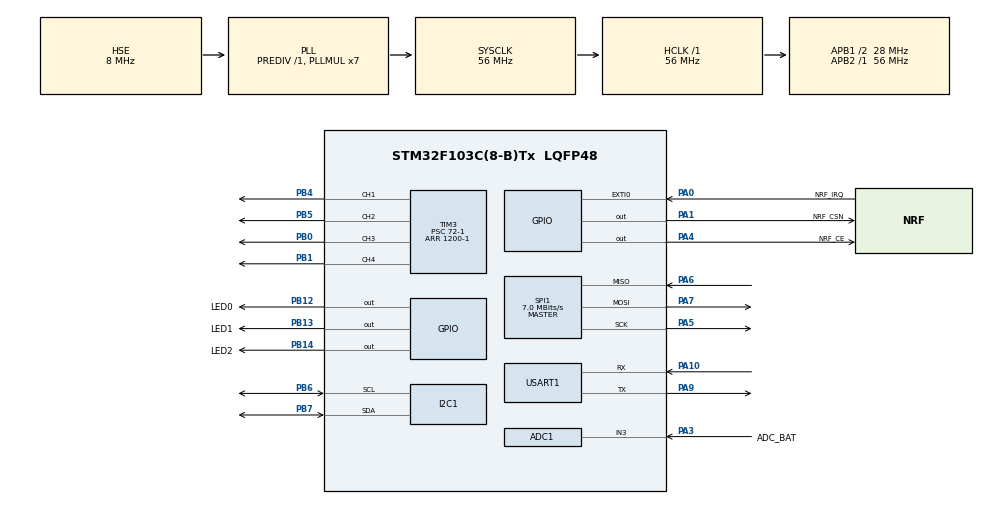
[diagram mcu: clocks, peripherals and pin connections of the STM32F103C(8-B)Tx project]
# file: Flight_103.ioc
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ADC1.Channel-0\#ChannelRegularConversion=ADC_CHANNEL_3
ADC1.NbrOfConversion=1
ADC1.NbrOfConversionFlag=1
ADC1.Rank-0\#ChannelRegularConversion=1
ADC1.SamplingTime-0\#ChannelRegularConversion=ADC_SAMPLETIME_41CYCLES_5
ADC1.master=1
Mcu.Family=STM32F1
Mcu.Name=STM32F103C(8-B)Tx
Mcu.Package=LQFP48
NVIC.EXTI0_IRQn=true\:2\:1\:true\:false\:true\:true
NVIC.PriorityGroup=NVIC_PRIORITYGROUP_2
NVIC.TIM2_IRQn=true\:2\:2\:true\:false\:true\:true
NVIC.TIM4_IRQn=true\:2\:0\:true\:false\:true\:true
NVIC.USART1_IRQn=true\:1\:2\:true\:false\:true\:true
PA0-WKUP.GPIO_Label=NRF_IRQ
PA0-WKUP.GPIO_ModeDefaultEXTI=GPIO_MODE_IT_FALLING
PA0-WKUP.GPIO_PuPd=GPIO_PULLUP
PA0-WKUP.Signal=GPXTI0
PA1.GPIO_Label=NRF_CSN
PA1.GPIO_ModeDefaultOutputPP=GPIO_MODE_OUTPUT_PP
PA1.GPIO_PuPd=GPIO_PULLUP
PA1.GPIO_Speed=GPIO_SPEED_FREQ_HIGH
PA1.PinState=GPIO_PIN_SET
PA1.Signal=GPIO_Output
PA10.Mode=Asynchronous
PA10.Signal=USART1_RX
PA13.Mode=Serial_Wire
PA13.Signal=SYS_JTMS-SWDIO
PA14.Mode=Serial_Wire
PA14.Signal=SYS_JTCK-SWCLK
PA3.GPIO_Label=ADC_BAT
PA3.Signal=ADCx_IN3
PA4.GPIO_Label=NRF_CE
PA4.GPIO_ModeDefaultOutputPP=GPIO_MODE_OUTPUT_PP
PA4.GPIO_PuPd=GPIO_PULLUP
PA4.GPIO_Speed=GPIO_SPEED_FREQ_HIGH
PA4.PinState=GPIO_PIN_SET
PA4.Signal=GPIO_Output
PA5.Mode=Full_Duplex_Master
PA5.Signal=SPI1_SCK
PA6.Mode=Full_Duplex_Master
PA6.Signal=SPI1_MISO
PA7.Mode=Full_Duplex_Master
PA7.Signal=SPI1_MOSI
PA9.Mode=Asynchronous
PA9.Signal=USART1_TX
PB0.Signal=S_TIM3_CH3
PB1.Signal=S_TIM3_CH4
PB12.GPIO_Label=LED0
PB12.GPIO_ModeDefaultOutputPP=GPIO_MODE_OUTPUT_PP
PB12.GPIO_PuPd=GPIO_PULLUP
PB12.GPIO_Speed=GPIO_SPEED_FREQ_HIGH
PB12.PinState=GPIO_PIN_SET
PB12.Signal=GPIO_Output
PB13.GPIO_Label=LED1
PB13.GPIO_ModeDefaultOutputPP=GPIO_MODE_OUTPUT_PP
PB13.GPIO_PuPd=GPIO_PULLUP
PB13.GPIO_Speed=GPIO_SPEED_FREQ_HIGH
PB13.PinState=GPIO_PIN_SET
PB13.Signal=GPIO_Output
PB14.GPIO_Label=LED2
PB14.GPIO_ModeDefaultOutputPP=GPIO_MODE_OUTPUT_PP
PB14.GPIO_PuPd=GPIO_PULLUP
PB14.GPIO_Speed=GPIO_SPEED_FREQ_HIGH
PB14.PinState=GPIO_PIN_SET
PB14.Signal=GPIO_Output
PB4.Signal=S_TIM3_CH1
PB5.Signal=S_TIM3_CH2
PB6.GPIO_Mode=GPIO_MODE_AF_OD
PB6.Mode=I2C
PB6.Signal=I2C1_SCL
PB7.Mode=I2C
PB7.Signal=I2C1_SDA
PD0-OSC_IN.Mode=HSE-External-Oscillator
PD0-OSC_IN.Signal=RCC_OSC_IN
PD1-OSC_OUT.Mode=HSE-External-Oscillator
PD1-OSC_OUT.Signal=RCC_OSC_OUT
ProjectManager.HeapSize=0x200
ProjectManager.StackSize=0x400
ProjectManager.TargetToolchain=MDK-ARM V5
RCC.ADCPresc=RCC_ADCPCLK2_DIV4
RCC.AHBFreq_Value=56000000
RCC.APB1CLKDivider=RCC_HCLK_DIV2
RCC.APB1Freq_Value=28000000
RCC.APB1TimFreq_Value=56000000
RCC.APB2Freq_Value=56000000
RCC.APB2TimFreq_Value=56000000
RCC.HCLKFreq_Value=56000000
RCC.PLLMUL=RCC_PLL_MUL7
RCC.PLLSourceVirtual=RCC_PLLSOURCE_HSE
RCC.SYSCLKFreq_VALUE=56000000
RCC.SYSCLKSource=RCC_SYSCLKSOURCE_PLLCLK
RCC.USBFreq_Value=37333333.333333336
RCC.USBPrescaler=RCC_USBCLKSOURCE_PLL_DIV1_5
SH.ADCx_IN3.0=ADC1_IN3,IN3
SH.S_TIM3_CH1.0=TIM3_CH1,PWM Generation1 CH1
SH.S_TIM3_CH2.0=TIM3_CH2,PWM Generation2 CH2
SH.S_TIM3_CH3.0=TIM3_CH3,PWM Generation3 CH3
SH.S_TIM3_CH4.0=TIM3_CH4,PWM Generation4 CH4
SPI1.BaudRatePrescaler=SPI_BAUDRATEPRESCALER_8
SPI1.CalculateBaudRate=7.0 MBits/s
SPI1.Direction=SPI_DIRECTION_2LINES
SPI1.Mode=SPI_MODE_MASTER
SPI1.VirtualType=VM_MASTER
TIM2.Period=100-1
TIM2.Prescaler=72-1
TIM3.AutoReloadPreload=TIM_AUTORELOAD_PRELOAD_DISABLE
TIM3.Channel-PWM\ Generation1\ CH1=TIM_CHANNEL_1
TIM3.Channel-PWM\ Generation2\ CH2=TIM_CHANNEL_2
TIM3.Channel-PWM\ Generation3\ CH3=TIM_CHANNEL_3
TIM3.Channel-PWM\ Generation4\ CH4=TIM_CHANNEL_4
TIM3.OCPolarity_1=TIM_OCPOLARITY_HIGH
TIM3.OCPolarity_3=TIM_OCPOLARITY_HIGH
TIM3.OCPolarity_4=TIM_OCPOLARITY_HIGH
TIM3.Period=1200-1
TIM3.Prescaler=72-1
TIM3.Pulse-PWM\ Generation1\ CH1=0
TIM3.Pulse-PWM\ Generation2\ CH2=0
TIM3.Pulse-PWM\ Generation3\ CH3=0
TIM3.Pulse-PWM\ Generation4\ CH4=0
TIM4.Period=1000-1
TIM4.Prescaler=72-1
USART1.VirtualMode=VM_ASYNC
VP_TIM2_VS_ClockSourceINT.Mode=Internal
VP_TIM4_VS_ClockSourceINT.Mode=Internal
board=custom

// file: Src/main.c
/**
  ******************************************************************************
  * @file           : main.c
  * @brief          : Main program body
  ******************************************************************************
  ** This notice applies to any and all portions of this file
  * that are not between comment pairs USER CODE BEGIN and
  * USER CODE END. Other portions of this file, whether
  * inserted by the user or by software development tools
  * are owned by their respective copyright owners.
  *
  * COPYRIGHT(c) 2018 STMicroelectronics
  *
  * Redistribution and use in source and binary forms, with or without modification,
  * are permitted provided that the following conditions are met:
  *   1. Redistributions of source code must retain the above copyright notice,
  *      this list of conditions and the following disclaimer.
  *   2. Redistributions in binary form must reproduce the above copyright notice,
  *      this list of conditions and the following disclaimer in the documentation
  *      and/or other materials provided with the distribution.
  *   3. Neither the name of STMicroelectronics nor the names of its contributors
  *      may be used to endorse or promote products derived from this software
  *      without specific prior written permission.
  *
  * THIS SOFTWARE IS PROVIDED BY THE COPYRIGHT HOLDERS AND CONTRIBUTORS "AS IS"
  * AND ANY EXPRESS OR IMPLIED WARRANTIES, INCLUDING, BUT NOT LIMITED TO, THE
  * IMPLIED WARRANTIES OF MERCHANTABILITY AND FITNESS FOR A PARTICULAR PURPOSE ARE
  * DISCLAIMED. IN NO EVENT SHALL THE COPYRIGHT HOLDER OR CONTRIBUTORS BE LIABLE
  * FOR ANY DIRECT, INDIRECT, INCIDENTAL, SPECIAL, EXEMPLARY, OR CONSEQUENTIAL
  * DAMAGES (INCLUDING, BUT NOT LIMITED TO, PROCUREMENT OF SUBSTITUTE GOODS OR
  * SERVICES; LOSS OF USE, DATA, OR PROFITS; OR BUSINESS INTERRUPTION) HOWEVER
  * CAUSED AND ON ANY THEORY OF LIABILITY, WHETHER IN CONTRACT, STRICT LIABILITY,
  * OR TORT (INCLUDING NEGLIGENCE OR OTHERWISE) ARISING IN ANY WAY OUT OF THE USE
  * OF THIS SOFTWARE, EVEN IF ADVISED OF THE POSSIBILITY OF SUCH DAMAGE.
  *
  ******************************************************************************
  */
#include "main.h"
#include "stm32f1xx_hal.h"
#include "adc.h"
#include "i2c.h"
#include "spi.h"
#include "tim.h"
#include "usart.h"
#include "gpio.h"

/* USER CODE BEGIN Includes */
#include "mpu6050.h"
#include "24l01.h"
#include "sand_data.h"
#include "control.h"
#include "RC.h"
#include "param.h"
/* USER CODE END Includes */

/* USER CODE BEGIN PV */
/* Private variables ---------------------------------------------------------*/
uint16_t BAT_Value = 0;
/* USER CODE END PV */

void SystemClock_Config(void);

/* USER CODE BEGIN PFP */
/* Private function prototypes -----------------------------------------------*/
void param_init();
/* USER CODE END PFP */

/* USER CODE BEGIN 0 */
uint8_t aRxBuffer[10];

/* USER CODE END 0 */

int main(void)
{

  /* MCU Configuration----------------------------------------------------------*/

  /* Reset of all peripherals, Initializes the Flash interface and the Systick. */
  HAL_Init();

  /* Configure the system clock */
  SystemClock_Config();

  /* Initialize all configured peripherals */
  MX_GPIO_Init();
  MX_SPI1_Init();
  MX_USART1_UART_Init();
  MX_TIM3_Init();
  MX_TIM4_Init();
  MX_I2C1_Init();
  MX_TIM2_Init();
  MX_ADC1_Init();
  /* USER CODE BEGIN 2 */
  param_init();
//  HAL_TIM_PWM_Start(&htim3, TIM_CHANNEL_1);
//  HAL_TIM_PWM_Start(&htim3, TIM_CHANNEL_2);
//  HAL_TIM_PWM_Start(&htim3, TIM_CHANNEL_3);
//  HAL_TIM_PWM_Start(&htim3, TIM_CHANNEL_4);
  while(mpu6050_init() != 0)
  {
      HAL_GPIO_TogglePin(LED2_GPIO_Port,LED2_Pin);
      HAL_Delay(1000);
  }
  Get_6050_offest();

  NRF24L01_Init();
  while(NRF24L01_Check()!= 0)
  {
    HAL_GPIO_TogglePin(LED2_GPIO_Port,LED2_Pin);
      HAL_Delay(500);
  }

  NRF24L01_RX_Mode();

  HAL_TIM_Base_Start_IT(&htim4);
  HAL_TIM_Base_Start_IT(&htim2);

  HAL_UART_Receive_IT(&huart1, (uint8_t *)aRxBuffer, 1);
  /* USER CODE END 2 */

  /* Infinite loop */
  while (1)
  {

  /* USER CODE BEGIN 3 */

    //必须要有，不然有的时候不会产生接受中断
    __HAL_UART_ENABLE_IT(&huart1, UART_IT_RXNE);
  }
  /* USER CODE END 3 */

}

void SystemClock_Config(void)
{

  RCC_OscInitTypeDef RCC_OscInitStruct;
  RCC_ClkInitTypeDef RCC_ClkInitStruct;
  RCC_PeriphCLKInitTypeDef PeriphClkInit;

    /**Initializes the CPU, AHB and APB busses clocks
    */
  RCC_OscInitStruct.OscillatorType = RCC_OSCILLATORTYPE_HSE;
  RCC_OscInitStruct.HSEState = RCC_HSE_ON;
  RCC_OscInitStruct.HSEPredivValue = RCC_HSE_PREDIV_DIV1;
  RCC_OscInitStruct.HSIState = RCC_HSI_ON;
  RCC_OscInitStruct.PLL.PLLState = RCC_PLL_ON;
  RCC_OscInitStruct.PLL.PLLSource = RCC_PLLSOURCE_HSE;
  RCC_OscInitStruct.PLL.PLLMUL = RCC_PLL_MUL7;
  if (HAL_RCC_OscConfig(&RCC_OscInitStruct) != HAL_OK)
  {
    _Error_Handler(__FILE__, __LINE__);
  }

    /**Initializes the CPU, AHB and APB busses clocks
    */
  RCC_ClkInitStruct.ClockType = RCC_CLOCKTYPE_HCLK|RCC_CLOCKTYPE_SYSCLK
                              |RCC_CLOCKTYPE_PCLK1|RCC_CLOCKTYPE_PCLK2;
  RCC_ClkInitStruct.SYSCLKSource = RCC_SYSCLKSOURCE_PLLCLK;
  RCC_ClkInitStruct.AHBCLKDivider = RCC_SYSCLK_DIV1;
  RCC_ClkInitStruct.APB1CLKDivider = RCC_HCLK_DIV2;
  RCC_ClkInitStruct.APB2CLKDivider = RCC_HCLK_DIV1;

  if (HAL_RCC_ClockConfig(&RCC_ClkInitStruct, FLASH_LATENCY_2) != HAL_OK)
  {
    _Error_Handler(__FILE__, __LINE__);
  }

  PeriphClkInit.PeriphClockSelection = RCC_PERIPHCLK_ADC;
  PeriphClkInit.AdcClockSelection = RCC_ADCPCLK2_DIV4;
  if (HAL_RCCEx_PeriphCLKConfig(&PeriphClkInit) != HAL_OK)
  {
    _Error_Handler(__FILE__, __LINE__);
  }

    /**Configure the Systick interrupt time
    */
  HAL_SYSTICK_Config(HAL_RCC_GetHCLKFreq()/1000);

    /**Configure the Systick
    */
  HAL_SYSTICK_CLKSourceConfig(SYSTICK_CLKSOURCE_HCLK);

  /* SysTick_IRQn interrupt configuration */
  HAL_NVIC_SetPriority(SysTick_IRQn, 0, 0);
}

/* USER CODE BEGIN 4 */
void param_init()
{
    Rc_Data.THROTTLE = 1000;
    Rc_Data.PITCH = 1500;
    Rc_Data.ROLL = 1500;
    Rc_Data.YAW = 1500;

    Rc_Data.pitch_offset = 1500;
    Rc_Data.roll_offset = 1500;
    Rc_Data.yaw_offset = 1500;

    Read_Acc_Gyro_offest();
    Read_PID_shell();
    Read_PID_core();

    ctrl.pitch.shell.increment_max = 100;
    ctrl.pitch.core.increment_max = 100;

    ctrl.roll.shell.increment_max = 100;
    ctrl.roll.core.increment_max = 100;

    ctrl.yaw.shell.increment_max = 100;
    ctrl.yaw.core.increment_max = 100;
    mode = 1;

}

void HAL_UART_RxCpltCallback(UART_HandleTypeDef *huart)
{

      Data_Receive_Prepare(aRxBuffer[0]);
      HAL_GPIO_TogglePin(LED1_GPIO_Port,LED1_Pin);
}
/* USER CODE END 4 */

void _Error_Handler(char *file, int line)
{
  while(1)
  {
  }
}

/************************ (C) COPYRIGHT STMicroelectronics *****END OF FILE****/
